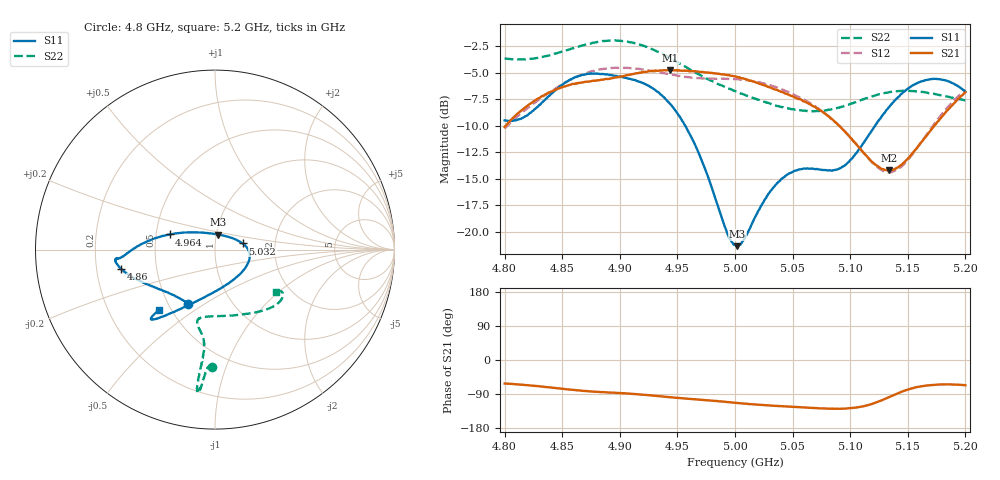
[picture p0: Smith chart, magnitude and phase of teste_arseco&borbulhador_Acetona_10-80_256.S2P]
! Network Analyzer HP8722D
! Hewlett-Packard
! Data name: Linha & Wilkinson
! Saver's name: Rodrigo Anjos
! Comments: Teste da utilização de aquisição
! continua pelo VNA HP8722D
! Time and date: 17/4/2025 16:29
!  Frequency  S11  S21  S12  S22
# HZ  S  MA R 50
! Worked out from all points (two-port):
!   401 points, 4.8 GHz to 5.2 GHz, reference 50 ohm
!   highest |S21| = -4.72 dB at 4.944 GHz (marker M1); lowest = -14.2 dB at 5.134 GHz (marker M2)
!   |S21| within 3 dB of the highest: 4.825 GHz to 5.061 GHz (235.7 MHz wide, 4.77 % of centre); 5.191557 GHz to end of sweep
!   lowest |S11| = -21.4 dB at 5.002 GHz (marker M3), VSWR 1.19, Z = 51.1 + j8.61 ohm
!   |S11| at or under -10 dB: 4.957 GHz to 5.121 GHz (164.6 MHz wide, 3.27 % of centre)
!   |S22| runs from -8.7 to -1.9 dB; largest |S21 - S12| = 0.87
!   S11 on the Smith chart (normalised r, x): 4.8 GHz: 0.63, -0.43; 4.86 GHz: 0.31, -0.09; 4.964 GHz: 0.59, +0.11; 5.032 GHz: 1.36, +0.10; 5.2 GHz: 0.43, -0.36
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4.8e9  0.3357 -116.5  0.3127 -62.1  0.3071 -176.4  0.657 -91.4
4.818e9  0.3509 -135.6  0.3863 -66.0  0.3761 -175.8  0.6507 -92.9
4.86e9  0.5332 -168.2  0.4989 -78.9  0.5298 -179.1  0.7356 -95.2
4.867e9  0.5489 -170.9  0.5071 -81.1  0.5511 179.6  0.7565 -95.5
4.899e9  0.5406 -174.8  0.5364 -87.3  0.5937 173.4  0.797 -96.9
4.934e9  0.4533 179.3  0.5765 -95.5  0.5679 170.1  0.7029 -97.2
4.944e9  0.4001 174.9  0.5811 -98.3  0.5525 170.3  0.6598 -96.9
4.964e9  0.2668 161.5  0.5718 -103.4  0.5338 172.1  0.5707 -96.2
4.993e9  0.09936 112.3  0.5502 -110.9  0.5281 174.4  0.4791 -98.6
5e9  0.08661 86.2  0.5401 -112.9  0.5265 174.4  0.461 -100.1
5.002e9  0.08556 78.0  0.5383 -113.3  0.5252 174.5  0.458 -100.6
5.008e9  0.09252 56.2  0.5276 -115.1  0.5208 174.2  0.4445 -101.8
5.032e9  0.1586 12.5  0.4756 -120.5  0.4882 173.2  0.3994 -103.5
5.048e9  0.1896 -3.1  0.4398 -123.1  0.4528 172.6  0.381 -99.4
5.067e9  0.1988 -23.2  0.3938 -126.5  0.399 172.3  0.3705 -88.6
5.096e9  0.2074 -73.6  0.2944 -128.2  0.2954 174.8  0.3944 -66.0
5.12e9  0.3077 -110.0  0.212 -114.8  0.2098 -169.9  0.4368 -50.0
5.134e9  0.3894 -121.0  0.195 -97.5  0.1912 -150.5  0.4564 -43.3
5.148e9  0.4651 -127.4  0.2158 -80.1  0.2118 -130.3  0.4632 -38.1
5.167e9  0.5211 -131.8  0.287 -67.1  0.291 -113.7  0.4534 -33.5
5.183e9  0.5181 -133.1  0.3669 -64.4  0.3786 -108.8  0.436 -32.3
5.2e9  0.4583 -133.1  0.4553 -66.7  0.4653 -108.7  0.4175 -34.9
